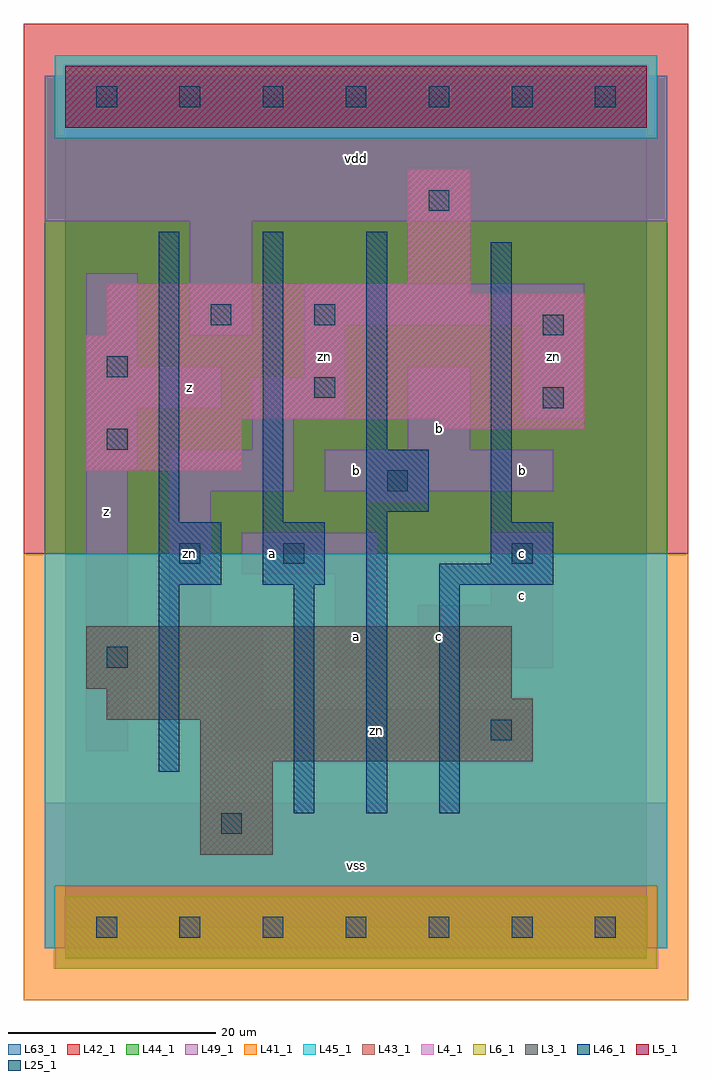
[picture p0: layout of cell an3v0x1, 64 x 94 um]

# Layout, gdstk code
import gdstk
lib = gdstk.Library(unit=1e-6, precision=1e-09)
def R(c, l, rs):  # rectangles x0, y0, x1, y1
    for r in rs: c.add(gdstk.rectangle(r[:2], r[2:], *l))
def A(c, l, x, y, w, h, nx, ny, dx, dy):  # array of equal rectangles
    R(c, l, [(x+i*dx, y+j*dy, x+i*dx+w, y+j*dy+h) for i in range(nx) for j in range(ny)])
L3_1 = (3, 1)
L4_1 = (4, 1)
L5_1 = (5, 1)
L6_1 = (6, 1)
L25_1 = (25, 1)
L41_1 = (41, 1)
L42_1 = (42, 1)
L43_1 = (43, 1)
L44_1 = (44, 1)
L45_1 = (45, 1)
L46_1 = (46, 1)
L49_1 = (49, 1)
L63_1 = (63, 1)

an3v0x1 = lib.new_cell('an3v0x1')
R(an3v0x1, L3_1, [(13,7,20,16), (13,16,45,20), (4,20,45,22), (4,22,43,23), (2,23,43,29)])
R(an3v0x1, L4_1, [(2,44,17,49), (36,48,50,49), (2,49,50,57), (4,57,50,61), (4,61,39,62), (33,62,39,73)])
R(an3v0x1, L5_1, [(0,77,56,83)])
R(an3v0x1, L6_1, [(0,-3,56,3), (0,-3,56,3)])
A(an3v0x1, L25_1, 3, -1, 2, 2, 7, 2, 8, 80)
R(an3v0x1, L25_1, [(15,9,17,11), (41,18,43,20), (4,25,6,27), (11,35,13,37), (21,35,23,37), (43,35,45,37), (31,42,33,44), (4,46,6,48), (46,50,48,52), (24,51,26,53), (4,53,6,55), (46,57,48,59), (14,58,16,60), (24,58,26,60), (35,69,37,71)])
R(an3v0x1, L41_1, [(-4,-7,60,36)])
R(an3v0x1, L42_1, [(-4,36,60,87)])
R(an3v0x1, L43_1, [(0,-3,56,3), (13,7,20,16), (13,16,45,20), (4,20,45,22), (4,22,43,23), (2,23,43,29), (2,44,17,49), (36,48,50,49), (2,49,50,57), (4,57,50,61), (4,61,39,62), (33,62,39,73), (0,77,56,83)])
R(an3v0x1, L44_1, [(-1,-4,57,4), (-2,36,58,76), (-2,76,-1,82), (57,76,58,82)])
R(an3v0x1, L45_1, [(-2,-2,-1,4), (57,-2,58,4), (-2,4,58,36), (-1,76,57,84)])
R(an3v0x1, L46_1, [(22,11,24,33), (29,11,31,40), (36,11,38,33), (9,15,11,33), (9,33,15,39), (19,33,25,39), (36,33,47,35), (41,35,47,39), (9,39,11,67), (19,39,21,67), (41,39,43,66), (29,40,35,46), (29,46,31,67)])
R(an3v0x1, L49_1, [(-2,-2,58,12), (2,17,6,23), (15,17,45,21), (15,21,19,25), (2,23,7,29), (10,25,19,29), (26,25,30,34), (34,25,47,31), (2,29,6,44), (10,29,14,42), (41,31,47,38), (17,34,30,38), (29,41,35,42), (10,42,22,46), (25,42,47,46), (2,44,7,50), (18,46,22,49), (33,46,39,54), (18,49,27,53), (44,49,50,58), (2,50,15,54), (23,53,27,58), (2,54,7,63), (12,57,18,68), (23,58,50,62), (-2,68,58,82)])
R(an3v0x1, L63_1, [(0,0,56,80)])
an3v0x1.add(gdstk.Label('zn', (12,36), layer=49, texttype=1))
an3v0x1.add(gdstk.Label('z', (4,40), layer=49, texttype=1))
an3v0x1.add(gdstk.Label('zn', (12,35), layer=49, texttype=1))
an3v0x1.add(gdstk.Label('z', (12,52), layer=49, texttype=1))
an3v0x1.add(gdstk.Label('vss', (28,6), layer=49, texttype=1))
an3v0x1.add(gdstk.Label('a', (28,28), layer=49, texttype=1))
an3v0x1.add(gdstk.Label('a', (20,36), layer=49, texttype=1))
an3v0x1.add(gdstk.Label('b', (28,44), layer=49, texttype=1))
an3v0x1.add(gdstk.Label('zn', (25,55), layer=49, texttype=1))
an3v0x1.add(gdstk.Label('vdd', (28,74), layer=49, texttype=1))
an3v0x1.add(gdstk.Label('c', (36,28), layer=49, texttype=1))
an3v0x1.add(gdstk.Label('zn', (30,19), layer=49, texttype=1))
an3v0x1.add(gdstk.Label('c', (44,32), layer=49, texttype=1))
an3v0x1.add(gdstk.Label('b', (44,44), layer=49, texttype=1))
an3v0x1.add(gdstk.Label('c', (44,36), layer=49, texttype=1))
an3v0x1.add(gdstk.Label('b', (36,48), layer=49, texttype=1))
an3v0x1.add(gdstk.Label('zn', (47,55), layer=49, texttype=1))

lib.write_gds('an3v0x1.gds')
